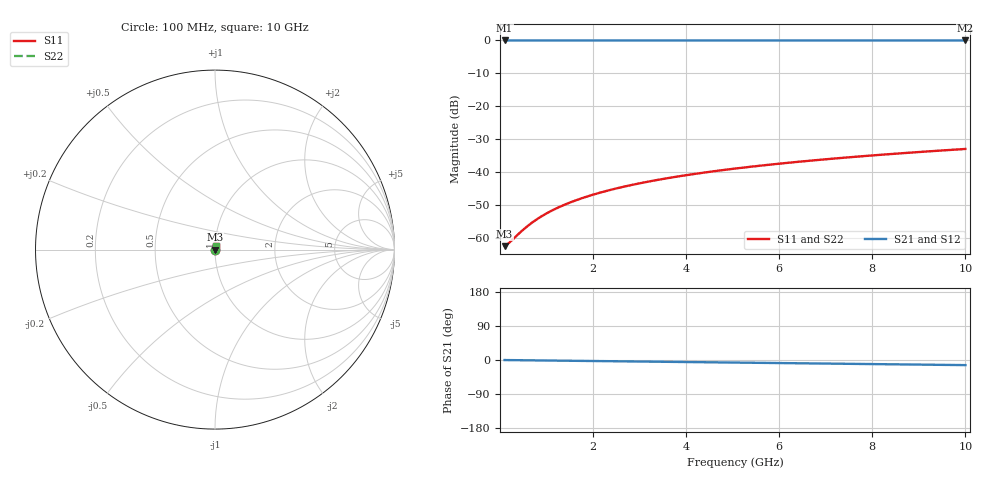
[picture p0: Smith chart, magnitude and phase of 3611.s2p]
# Hz S RI R 50.00
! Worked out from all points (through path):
!   100 points, 100 MHz to 10 GHz, reference 50 ohm
!   highest |S21| = -0.01 dB at 100 MHz (marker M1); lowest = 0.0 dB at 10 GHz (marker M2)
!   group delay of S21, straight-line fit = 3.75 ps
!   lowest |S11| = -62.4 dB at 100 MHz (marker M3), VSWR 1.00, Z = 50.1 + j0.0225 ohm
!   |S11| at or under -10 dB: start of sweep to end of sweep
!   |S22| runs from -62.4 to -32.9 dB; largest |S21 - S12| = 0
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1e8  0.000724 0.000225  0.9993 -0.00233  0.9993 -0.00233  0.000724 0.000225
2e8  0.00073 0.000449  0.9993 -0.00466  0.9993 -0.00466  0.00073 0.000449
4e8  0.000741 0.000899  0.9992 -0.00933  0.9992 -0.00933  0.000741 0.000899
5e8  0.000747 0.00112  0.9992 -0.0117  0.9992 -0.0117  0.000747 0.00112
6e8  0.000754 0.00135  0.9992 -0.014  0.9992 -0.014  0.000754 0.00135
7e8  0.000762 0.00157  0.9991 -0.0163  0.9991 -0.0163  0.000762 0.00157
9e8  0.00078 0.00202  0.999 -0.021  0.999 -0.021  0.00078 0.00202
1.1e9  0.000802 0.00247  0.9989 -0.0257  0.9989 -0.0257  0.000802 0.00247
1.3e9  0.000829 0.00292  0.9988 -0.0303  0.9988 -0.0303  0.000829 0.00292
1.5e9  0.000859 0.00336  0.9986 -0.035  0.9986 -0.035  0.000859 0.00336
1.8e9  0.000911 0.00403  0.9983 -0.042  0.9983 -0.042  0.000911 0.00403
2.1e9  0.000973 0.0047  0.998 -0.049  0.998 -0.049  0.000973 0.0047
2.5e9  0.00107 0.00559  0.9975 -0.0583  0.9975 -0.0583  0.00107 0.00559
2.9e9  0.00118 0.00648  0.9969 -0.0677  0.9969 -0.0677  0.00118 0.00648
3.4e9  0.00135 0.00758  0.996 -0.0794  0.996 -0.0794  0.00135 0.00758
4.2e9  0.00166 0.00934  0.9943 -0.098  0.9943 -0.098  0.00166 0.00934
5.1e9  0.0021 0.0113  0.992 -0.1191  0.992 -0.1191  0.0021 0.0113
5.9e9  0.00256 0.013  0.9895 -0.1377  0.9895 -0.1377  0.00256 0.013
6.7e9  0.00308 0.0148  0.9867 -0.1564  0.9867 -0.1564  0.00308 0.0148
7.5e9  0.00368 0.0165  0.9835 -0.175  0.9835 -0.175  0.00368 0.0165
8.4e9  0.00443 0.0184  0.9795 -0.196  0.9795 -0.196  0.00443 0.0184
1e10  0.00598 0.0218  0.9712 -0.2331  0.9712 -0.2331  0.00598 0.0218
